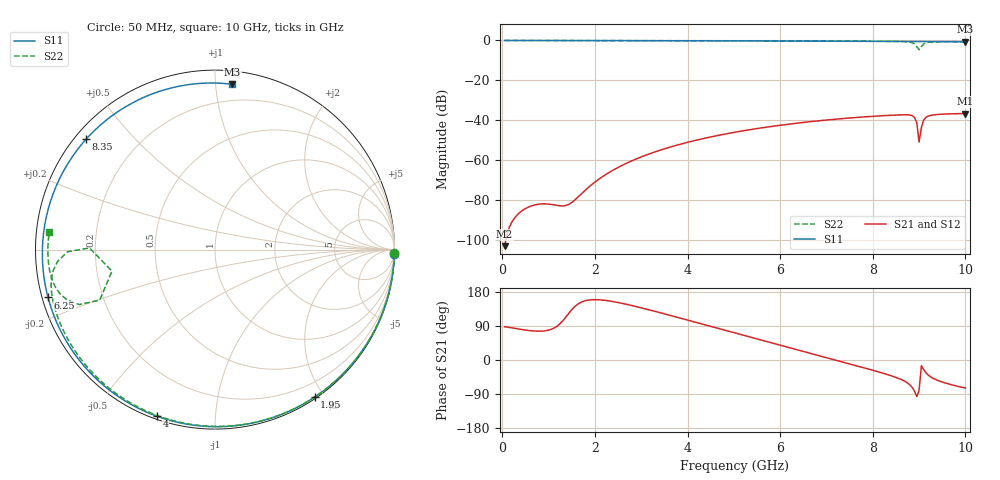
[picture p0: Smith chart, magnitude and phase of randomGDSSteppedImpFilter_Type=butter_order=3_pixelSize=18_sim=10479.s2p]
! freq	dB(S11)	phase(S11)	dB(S12)	phase(S12)
!  dB(S21)	phase(S21)	dB(S22)	phase(S22)
!S-par simulation data
#  GHz  S  DB  R 50
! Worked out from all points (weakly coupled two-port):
!   200 points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, 50 MHz to 10 GHz, reference 50 ohm
!   highest |S21| = -36.66 dB at 10 GHz (marker M1); lowest = -103.2 dB at 50 MHz (marker M2)
!   lowest |S11| = -0.7 dB at 10 GHz (marker M3), VSWR 26.09, Z = 4.27 + j55.3 ohm
!   |S11| at or under -10 dB: nowhere
!   |S22| runs from -4.6 to 0.0 dB; largest |S21 - S12| = 0
!   S11 on the Smith chart (normalised r, x): 50 MHz: 1, -76; 1.95 GHz: 0.02, -1.88; 4 GHz: 0.01, -0.71; 6.25 GHz: 0.02, -0.14; 8.35 GHz: 0.03, +0.37; 10 GHz: 0.09, +1.11
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0.05  -0.00 -1.5  -103.18 87.8  -103.18 87.8  -0.00 -1.0
0.75  -0.03 -22.0  -82.28 76.2  -82.28 76.2  -0.02 -15.7
1.55  -0.06 -44.8  -80.35 139.2  -80.35 139.2  -0.04 -32.2
1.75  -0.06 -50.4  -76.00 154.7  -76.00 154.7  -0.05 -36.2
1.95  -0.07 -55.9  -71.96 159.2  -71.96 159.2  -0.05 -40.2
2.6  -0.09 -73.5  -62.50 149.2  -62.50 149.2  -0.07 -53.2
3.4  -0.12 -94.2  -55.10 125.1  -55.10 125.1  -0.09 -68.6
4  -0.15 -109.3  -51.10 105.4  -51.10 105.4  -0.11 -79.9
5.05  -0.20 -134.8  -45.92 70.3  -45.92 70.3  -0.15 -99.0
6.25  -0.28 -164.0  -41.80 30.5  -41.80 30.5  -0.22 -120.3
6.7  -0.32 -175.3  -40.62 15.8  -40.62 15.8  -0.25 -128.2
7.55  -0.40 162.4  -38.80 -12.0  -38.80 -12.0  -0.33 -143.4
8.35  -0.49 139.5  -37.57 -39.7  -37.57 -39.7  -0.44 -159.1
8.75  -0.53 127.1  -37.32 -60.6  -37.32 -60.6  -0.70 -170.4
8.9  -0.55 122.4  -38.53 -82.1  -38.53 -82.1  -1.71 -179.2
8.95  -0.56 120.7  -41.21 -96.5  -41.21 -96.5  -3.11 179.3
9  -0.56 119.1  -50.96 -79.9  -50.96 -79.9  -4.64 -168.2
9.05  -0.56 117.5  -43.67 -15.3  -43.67 -15.3  -3.08 -156.4
9.1  -0.57 115.8  -39.85 -25.3  -39.85 -25.3  -1.77 -157.9
9.15  -0.57 114.1  -38.53 -33.9  -38.53 -33.9  -1.20 -161.2
9.4  -0.60 105.6  -37.12 -53.7  -37.12 -53.7  -0.66 -171.5
10  -0.67 84.1  -36.66 -73.9  -36.66 -73.9  -0.64 174.1
